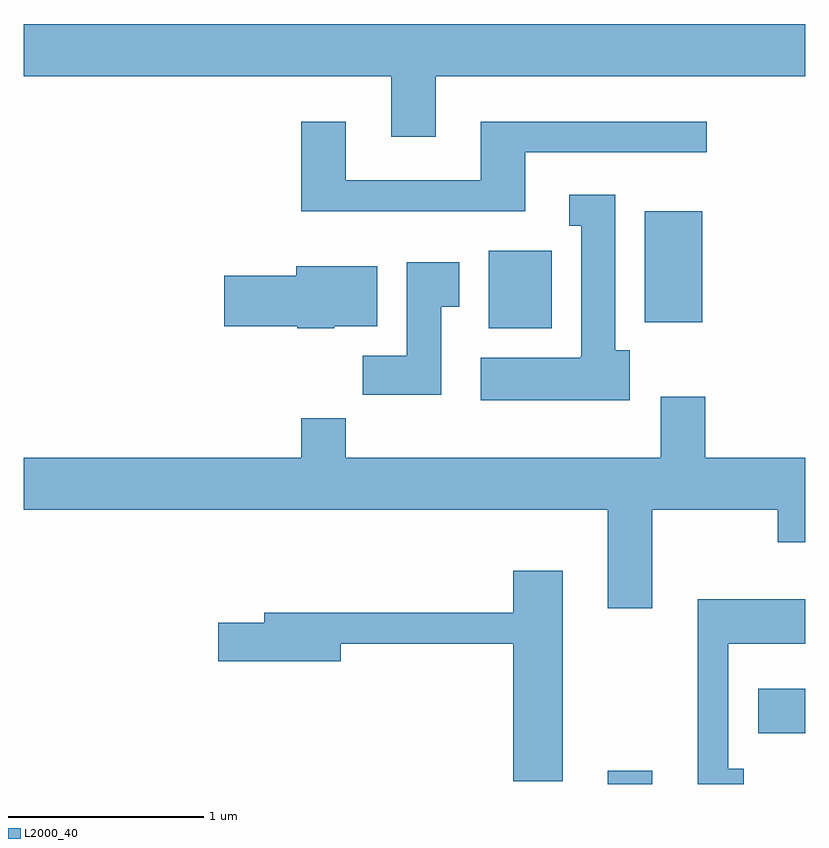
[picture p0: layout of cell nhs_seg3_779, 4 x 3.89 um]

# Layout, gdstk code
import gdstk
lib = gdstk.Library(unit=1e-6, precision=1e-09)
def R(c, l, rs):  # rectangles x0, y0, x1, y1
    for r in rs: c.add(gdstk.rectangle(r[:2], r[2:], *l))
def P(c, l, *ps):  # polygons
    for p in ps: c.add(gdstk.Polygon(p, *l))
L2000_40 = (2000, 40)

nhs_seg3_779 = lib.new_cell('nhs_seg3_779')
R(nhs_seg3_779, L2000_40, [(210.601,1177.892,210.829,1177.959), (211.371,1178.151,211.611,1178.379), (209.991,1180.226,210.314,1180.624), (210.791,1180.256,211.084,1180.824)])
P(nhs_seg3_779, L2000_40, [(209.719,1181.516),(211.611,1181.516),(211.611,1181.784),(207.611,1181.784),(207.611,1181.516),(209.491,1181.516),(209.491,1181.206),(209.719,1181.206)],
  [(210.179,1181.126),(211.108,1181.126),(211.108,1181.284),(209.951,1181.284),(209.951,1180.984),(209.259,1180.984),(209.259,1181.284),(209.031,1181.284),(209.031,1180.826),(210.179,1180.826)],
  [(210.714,1180.114),(210.639,1180.114),(210.639,1180.909),(210.403,1180.909),(210.403,1180.751),(210.466,1180.751),(210.466,1180.08),(210.46,1180.08),(210.46,1180.074),(209.951,1180.074),(209.951,1179.856),(210.714,1179.856)],
  [(209.749,1180.336),(209.839,1180.336),(209.839,1180.564),(209.571,1180.564),(209.571,1180.084),(209.346,1180.084),(209.346,1179.886),(209.749,1179.886)],
  [(209.2,1180.236),(209.419,1180.236),(209.419,1180.544),(209.006,1180.544),(209.006,1180.494),(208.636,1180.494),(208.636,1180.236),(209.01,1180.236),(209.01,1180.226),(209.2,1180.226)],
  [(210.829,1179.296),(211.471,1179.296),(211.471,1179.131),(211.611,1179.131),(211.611,1179.564),(211.099,1179.564),(211.099,1179.874),(210.871,1179.874),(210.871,1179.564),(209.259,1179.564),(209.259,1179.764),(209.031,1179.764),(209.031,1179.564),(207.611,1179.564),(207.611,1179.296),(210.601,1179.296),(210.601,1178.791),(210.829,1178.791)],
  [(210.369,1178.984),(210.116,1178.984),(210.116,1178.769),(208.841,1178.769),(208.841,1178.719),(208.606,1178.719),(208.606,1178.521),(209.234,1178.521),(209.234,1178.611),(210.116,1178.611),(210.116,1177.906),(210.369,1177.906)],
  [(211.298,1177.969),(211.219,1177.969),(211.219,1178.611),(211.611,1178.611),(211.611,1178.839),(211.061,1178.839),(211.061,1177.892),(211.298,1177.892)])

lib.write_gds('nhs_seg3_779.gds')
